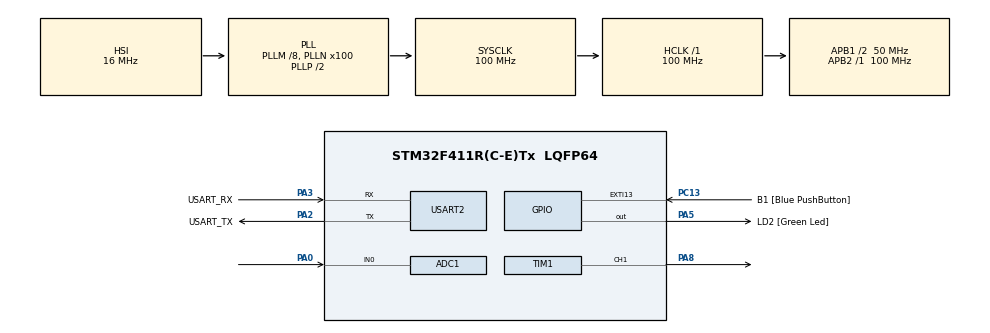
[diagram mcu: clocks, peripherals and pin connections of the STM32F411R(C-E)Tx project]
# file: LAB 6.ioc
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ADC1.Channel-0\#ChannelRegularConversion=ADC_CHANNEL_0
ADC1.ExternalTrigConv=ADC_EXTERNALTRIGCONV_T3_TRGO
ADC1.NbrOfConversionFlag=1
ADC1.Rank-0\#ChannelRegularConversion=1
ADC1.SamplingTime-0\#ChannelRegularConversion=ADC_SAMPLETIME_3CYCLES
ADC1.master=1
Dma.ADC1.0.Direction=DMA_PERIPH_TO_MEMORY
Dma.ADC1.0.FIFOMode=DMA_FIFOMODE_DISABLE
Dma.ADC1.0.Instance=DMA2_Stream0
Dma.ADC1.0.MemDataAlignment=DMA_MDATAALIGN_HALFWORD
Dma.ADC1.0.MemInc=DMA_MINC_ENABLE
Dma.ADC1.0.Mode=DMA_CIRCULAR
Dma.ADC1.0.PeriphDataAlignment=DMA_PDATAALIGN_HALFWORD
Dma.ADC1.0.PeriphInc=DMA_PINC_DISABLE
Dma.ADC1.0.Priority=DMA_PRIORITY_LOW
Dma.Request0=ADC1
Mcu.Family=STM32F4
Mcu.Name=STM32F411R(C-E)Tx
Mcu.Package=LQFP64
NVIC.ADC_IRQn=true\:0\:0\:false\:false\:true\:true\:true
NVIC.DMA2_Stream0_IRQn=true\:0\:0\:false\:false\:true\:false\:true
NVIC.PriorityGroup=NVIC_PRIORITYGROUP_0
NVIC.TIM1_TRG_COM_TIM11_IRQn=true\:0\:0\:false\:false\:true\:true\:true
NVIC.TIM3_IRQn=true\:0\:0\:false\:false\:true\:true\:true
PA0-WKUP.Signal=ADCx_IN0
PA13.GPIO_Label=TMS
PA13.Mode=Serial_Wire
PA13.Signal=SYS_JTMS-SWDIO
PA14.GPIO_Label=TCK
PA14.Mode=Serial_Wire
PA14.Signal=SYS_JTCK-SWCLK
PA2.GPIO_Label=USART_TX
PA2.Mode=Asynchronous
PA2.Signal=USART2_TX
PA3.GPIO_Label=USART_RX
PA3.Mode=Asynchronous
PA3.Signal=USART2_RX
PA5.GPIO_Label=LD2 [Green Led]
PA5.Signal=GPIO_Output
PA8.Signal=S_TIM1_CH1
PB3.GPIO_Label=SWO
PB3.Signal=SYS_JTDO-SWO
PC13-ANTI_TAMP.GPIO_Label=B1 [Blue PushButton]
PC13-ANTI_TAMP.GPIO_ModeDefaultEXTI=GPIO_MODE_IT_FALLING
PC13-ANTI_TAMP.Signal=GPXTI13
PC14-OSC32_IN.Mode=LSE-External-Oscillator
PC14-OSC32_IN.Signal=RCC_OSC32_IN
PC15-OSC32_OUT.Mode=LSE-External-Oscillator
PC15-OSC32_OUT.Signal=RCC_OSC32_OUT
PH0\ -\ OSC_IN.Mode=HSE-External-Clock-Source
PH0\ -\ OSC_IN.Signal=RCC_OSC_IN
PH1\ -\ OSC_OUT.Mode=HSE-External-Clock-Source
PH1\ -\ OSC_OUT.Signal=RCC_OSC_OUT
ProjectManager.HeapSize=0x200
ProjectManager.StackSize=0x400
ProjectManager.TargetToolchain=STM32CubeIDE
RCC.48MHZClocksFreq_Value=50000000
RCC.AHBFreq_Value=100000000
RCC.APB1CLKDivider=RCC_HCLK_DIV2
RCC.APB1Freq_Value=50000000
RCC.APB1TimFreq_Value=100000000
RCC.APB2Freq_Value=100000000
RCC.APB2TimFreq_Value=100000000
RCC.CortexFreq_Value=100000000
RCC.FLatency-AdvancedSettings=FLASH_LATENCY_3
RCC.HCLKFreq_Value=100000000
RCC.HSE_VALUE=8000000
RCC.HSI_VALUE=16000000
RCC.PLLM=8
RCC.PLLN=100
RCC.SYSCLKFreq_VALUE=100000000
RCC.SYSCLKSource=RCC_SYSCLKSOURCE_PLLCLK
RCC.VCOOutputFreq_Value=200000000
SH.ADCx_IN0.0=ADC1_IN0,IN0
SH.S_TIM1_CH1.0=TIM1_CH1,PWM Generation1 CH1
TIM1.Channel-PWM\ Generation1\ CH1=TIM_CHANNEL_1
TIM1.Period=10000
TIM3.Period=1000
TIM3.Prescaler=99
TIM3.TIM_MasterOutputTrigger=TIM_TRGO_UPDATE
USART2.VirtualMode=VM_ASYNC
VP_TIM11_VS_ClockSourceINT.Mode=Enable_Timer
VP_TIM1_VS_ClockSourceINT.Mode=Internal
VP_TIM3_VS_ClockSourceINT.Mode=Internal
board=NUCLEO-F411RE

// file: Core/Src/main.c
/* USER CODE BEGIN Header */
/**
  ******************************************************************************
  * @file           : main.c
  * @brief          : Main program body
  ******************************************************************************
  * @attention
  *
  * <h2><center>&copy; Copyright (c) 2021 STMicroelectronics.
  * All rights reserved.</center></h2>
  *
  * This software component is licensed by ST under BSD 3-Clause license,
  * the "License"; You may not use this file except in compliance with the
  * License. You may obtain a copy of the License at:
  *                        opensource.org/licenses/BSD-3-Clause
  *
  ******************************************************************************
  */
/* USER CODE END Header */
#include "main.h"

ADC_HandleTypeDef hadc1;
DMA_HandleTypeDef hdma_adc1;

TIM_HandleTypeDef htim1;
TIM_HandleTypeDef htim3;
TIM_HandleTypeDef htim11;

UART_HandleTypeDef huart2;

/* USER CODE BEGIN PV */
uint8_t ADCUpdateFlag = 0;
uint16_t ADCFeedBack = 0;

uint16_t wantedPWM = 3030;		//3.3V>>10000 --> 1V>>10000/3.3=3030
float Vout = 0.00;

uint64_t _micro = 0;
uint64_t TimeOutputLoop = 0;
/* USER CODE END PV */

void SystemClock_Config(void);
static void MX_GPIO_Init(void);
static void MX_DMA_Init(void);
static void MX_USART2_UART_Init(void);
static void MX_ADC1_Init(void);
static void MX_TIM1_Init(void);
static void MX_TIM3_Init(void);
static void MX_TIM11_Init(void);
/* USER CODE BEGIN PFP */
uint64_t micros();
/* USER CODE END PFP */

int main(void)
{

  /* MCU Configuration--------------------------------------------------------*/

  /* Reset of all peripherals, Initializes the Flash interface and the Systick. */
  HAL_Init();

  /* Configure the system clock */
  SystemClock_Config();

  /* Initialize all configured peripherals */
  MX_GPIO_Init();
  MX_DMA_Init();
  MX_USART2_UART_Init();
  MX_ADC1_Init();
  MX_TIM1_Init();
  MX_TIM3_Init();
  MX_TIM11_Init();
  /* USER CODE BEGIN 2 */
  HAL_ADC_Start_IT(&hadc1);
  	HAL_TIM_Base_Start(&htim3);

  	HAL_TIM_Base_Start(&htim1);
  	HAL_TIM_PWM_Start(&htim1, TIM_CHANNEL_1);

  	HAL_TIM_Base_Start_IT(&htim11);
  /* USER CODE END 2 */

  /* Infinite loop */
  while (1)
  {

    /* USER CODE BEGIN 3 */
	  if (micros() - TimeOutputLoop > 1000)
	  {
		TimeOutputLoop = micros();
		// #001
		//Vout = Vin * PWM >> PWM 1 unit > Vin/PWM
		//Vin คำนวณจาก  ADCFeedBack
		//PWM >> 0 - 10000		//PWMmax = 10000
		//Wanted Range >> 0 - 3.3
		//Resolution >> ADCFeedBak*3.3/2^12 >> Wanted Vin
		__HAL_TIM_SET_COMPARE(&htim1, TIM_CHANNEL_1, wantedPWM);
		//ADC 12 bit >> 4096
		if (Vout < 1)
		{
			//wanted Vout = 1 >> wantedPWM = 1*12bit*PWMmax/(Vin*ADCFeedback)
			wantedPWM = 40960000.00/(ADCFeedBack*3.3);
		}
		else if (Vout > 1)
		{
			wantedPWM = 40960000.00/(ADCFeedBack*3.3);
		}
		//Vout = Vin * (ADCFeedback/12bit) * (PWM/PWMmax)
		Vout = 3.3*ADCFeedBack/40960000*wantedPWM;

		}

		if (ADCUpdateFlag) {
			ADCUpdateFlag = 0;
			//#002
		}

  }
  /* USER CODE END 3 */
}

void SystemClock_Config(void)
{
  RCC_OscInitTypeDef RCC_OscInitStruct = {0};
  RCC_ClkInitTypeDef RCC_ClkInitStruct = {0};

  /** Configure the main internal regulator output voltage
  */
  __HAL_RCC_PWR_CLK_ENABLE();
  __HAL_PWR_VOLTAGESCALING_CONFIG(PWR_REGULATOR_VOLTAGE_SCALE1);
  /** Initializes the RCC Oscillators according to the specified parameters
  * in the RCC_OscInitTypeDef structure.
  */
  RCC_OscInitStruct.OscillatorType = RCC_OSCILLATORTYPE_HSI;
  RCC_OscInitStruct.HSIState = RCC_HSI_ON;
  RCC_OscInitStruct.HSICalibrationValue = RCC_HSICALIBRATION_DEFAULT;
  RCC_OscInitStruct.PLL.PLLState = RCC_PLL_ON;
  RCC_OscInitStruct.PLL.PLLSource = RCC_PLLSOURCE_HSI;
  RCC_OscInitStruct.PLL.PLLM = 8;
  RCC_OscInitStruct.PLL.PLLN = 100;
  RCC_OscInitStruct.PLL.PLLP = RCC_PLLP_DIV2;
  RCC_OscInitStruct.PLL.PLLQ = 4;
  if (HAL_RCC_OscConfig(&RCC_OscInitStruct) != HAL_OK)
  {
    Error_Handler();
  }
  /** Initializes the CPU, AHB and APB buses clocks
  */
  RCC_ClkInitStruct.ClockType = RCC_CLOCKTYPE_HCLK|RCC_CLOCKTYPE_SYSCLK
                              |RCC_CLOCKTYPE_PCLK1|RCC_CLOCKTYPE_PCLK2;
  RCC_ClkInitStruct.SYSCLKSource = RCC_SYSCLKSOURCE_PLLCLK;
  RCC_ClkInitStruct.AHBCLKDivider = RCC_SYSCLK_DIV1;
  RCC_ClkInitStruct.APB1CLKDivider = RCC_HCLK_DIV2;
  RCC_ClkInitStruct.APB2CLKDivider = RCC_HCLK_DIV1;

  if (HAL_RCC_ClockConfig(&RCC_ClkInitStruct, FLASH_LATENCY_3) != HAL_OK)
  {
    Error_Handler();
  }
}

static void MX_ADC1_Init(void)
{

  ADC_ChannelConfTypeDef sConfig = {0};

  /** Configure the global features of the ADC (Clock, Resolution, Data Alignment and number of conversion)
  */
  hadc1.Instance = ADC1;
  hadc1.Init.ClockPrescaler = ADC_CLOCK_SYNC_PCLK_DIV4;
  hadc1.Init.Resolution = ADC_RESOLUTION_12B;
  hadc1.Init.ScanConvMode = DISABLE;
  hadc1.Init.ContinuousConvMode = DISABLE;
  hadc1.Init.DiscontinuousConvMode = DISABLE;
  hadc1.Init.ExternalTrigConvEdge = ADC_EXTERNALTRIGCONVEDGE_RISING;
  hadc1.Init.ExternalTrigConv = ADC_EXTERNALTRIGCONV_T3_TRGO;
  hadc1.Init.DataAlign = ADC_DATAALIGN_RIGHT;
  hadc1.Init.NbrOfConversion = 1;
  hadc1.Init.DMAContinuousRequests = DISABLE;
  hadc1.Init.EOCSelection = ADC_EOC_SINGLE_CONV;
  if (HAL_ADC_Init(&hadc1) != HAL_OK)
  {
    Error_Handler();
  }
  /** Configure for the selected ADC regular channel its corresponding rank in the sequencer and its sample time.
  */
  sConfig.Channel = ADC_CHANNEL_0;
  sConfig.Rank = 1;
  sConfig.SamplingTime = ADC_SAMPLETIME_3CYCLES;
  if (HAL_ADC_ConfigChannel(&hadc1, &sConfig) != HAL_OK)
  {
    Error_Handler();
  }

}

static void MX_TIM1_Init(void)
{

  TIM_ClockConfigTypeDef sClockSourceConfig = {0};
  TIM_MasterConfigTypeDef sMasterConfig = {0};
  TIM_OC_InitTypeDef sConfigOC = {0};
  TIM_BreakDeadTimeConfigTypeDef sBreakDeadTimeConfig = {0};

  htim1.Instance = TIM1;
  htim1.Init.Prescaler = 0;
  htim1.Init.CounterMode = TIM_COUNTERMODE_UP;
  htim1.Init.Period = 10000;
  htim1.Init.ClockDivision = TIM_CLOCKDIVISION_DIV1;
  htim1.Init.RepetitionCounter = 0;
  htim1.Init.AutoReloadPreload = TIM_AUTORELOAD_PRELOAD_DISABLE;
  if (HAL_TIM_Base_Init(&htim1) != HAL_OK)
  {
    Error_Handler();
  }
  sClockSourceConfig.ClockSource = TIM_CLOCKSOURCE_INTERNAL;
  if (HAL_TIM_ConfigClockSource(&htim1, &sClockSourceConfig) != HAL_OK)
  {
    Error_Handler();
  }
  if (HAL_TIM_PWM_Init(&htim1) != HAL_OK)
  {
    Error_Handler();
  }
  sMasterConfig.MasterOutputTrigger = TIM_TRGO_RESET;
  sMasterConfig.MasterSlaveMode = TIM_MASTERSLAVEMODE_DISABLE;
  if (HAL_TIMEx_MasterConfigSynchronization(&htim1, &sMasterConfig) != HAL_OK)
  {
    Error_Handler();
  }
  sConfigOC.OCMode = TIM_OCMODE_PWM1;
  sConfigOC.Pulse = 0;
  sConfigOC.OCPolarity = TIM_OCPOLARITY_HIGH;
  sConfigOC.OCNPolarity = TIM_OCNPOLARITY_HIGH;
  sConfigOC.OCFastMode = TIM_OCFAST_DISABLE;
  sConfigOC.OCIdleState = TIM_OCIDLESTATE_RESET;
  sConfigOC.OCNIdleState = TIM_OCNIDLESTATE_RESET;
  if (HAL_TIM_PWM_ConfigChannel(&htim1, &sConfigOC, TIM_CHANNEL_1) != HAL_OK)
  {
    Error_Handler();
  }
  sBreakDeadTimeConfig.OffStateRunMode = TIM_OSSR_DISABLE;
  sBreakDeadTimeConfig.OffStateIDLEMode = TIM_OSSI_DISABLE;
  sBreakDeadTimeConfig.LockLevel = TIM_LOCKLEVEL_OFF;
  sBreakDeadTimeConfig.DeadTime = 0;
  sBreakDeadTimeConfig.BreakState = TIM_BREAK_DISABLE;
  sBreakDeadTimeConfig.BreakPolarity = TIM_BREAKPOLARITY_HIGH;
  sBreakDeadTimeConfig.AutomaticOutput = TIM_AUTOMATICOUTPUT_DISABLE;
  if (HAL_TIMEx_ConfigBreakDeadTime(&htim1, &sBreakDeadTimeConfig) != HAL_OK)
  {
    Error_Handler();
  }
  HAL_TIM_MspPostInit(&htim1);

}

static void MX_TIM3_Init(void)
{

  TIM_ClockConfigTypeDef sClockSourceConfig = {0};
  TIM_MasterConfigTypeDef sMasterConfig = {0};

  htim3.Instance = TIM3;
  htim3.Init.Prescaler = 99;
  htim3.Init.CounterMode = TIM_COUNTERMODE_UP;
  htim3.Init.Period = 1000;
  htim3.Init.ClockDivision = TIM_CLOCKDIVISION_DIV1;
  htim3.Init.AutoReloadPreload = TIM_AUTORELOAD_PRELOAD_DISABLE;
  if (HAL_TIM_Base_Init(&htim3) != HAL_OK)
  {
    Error_Handler();
  }
  sClockSourceConfig.ClockSource = TIM_CLOCKSOURCE_INTERNAL;
  if (HAL_TIM_ConfigClockSource(&htim3, &sClockSourceConfig) != HAL_OK)
  {
    Error_Handler();
  }
  sMasterConfig.MasterOutputTrigger = TIM_TRGO_UPDATE;
  sMasterConfig.MasterSlaveMode = TIM_MASTERSLAVEMODE_DISABLE;
  if (HAL_TIMEx_MasterConfigSynchronization(&htim3, &sMasterConfig) != HAL_OK)
  {
    Error_Handler();
  }

}

static void MX_TIM11_Init(void)
{

  htim11.Instance = TIM11;
  htim11.Init.Prescaler = 0;
  htim11.Init.CounterMode = TIM_COUNTERMODE_UP;
  htim11.Init.Period = 65535;
  htim11.Init.ClockDivision = TIM_CLOCKDIVISION_DIV1;
  htim11.Init.AutoReloadPreload = TIM_AUTORELOAD_PRELOAD_DISABLE;
  if (HAL_TIM_Base_Init(&htim11) != HAL_OK)
  {
    Error_Handler();
  }

}

static void MX_USART2_UART_Init(void)
{

  huart2.Instance = USART2;
  huart2.Init.BaudRate = 115200;
  huart2.Init.WordLength = UART_WORDLENGTH_8B;
  huart2.Init.StopBits = UART_STOPBITS_1;
  huart2.Init.Parity = UART_PARITY_NONE;
  huart2.Init.Mode = UART_MODE_TX_RX;
  huart2.Init.HwFlowCtl = UART_HWCONTROL_NONE;
  huart2.Init.OverSampling = UART_OVERSAMPLING_16;
  if (HAL_UART_Init(&huart2) != HAL_OK)
  {
    Error_Handler();
  }

}

static void MX_DMA_Init(void)
{

  /* DMA controller clock enable */
  __HAL_RCC_DMA2_CLK_ENABLE();

  /* DMA interrupt init */
  /* DMA2_Stream0_IRQn interrupt configuration */
  HAL_NVIC_SetPriority(DMA2_Stream0_IRQn, 0, 0);
  HAL_NVIC_EnableIRQ(DMA2_Stream0_IRQn);

}

static void MX_GPIO_Init(void)
{
  GPIO_InitTypeDef GPIO_InitStruct = {0};

  /* GPIO Ports Clock Enable */
  __HAL_RCC_GPIOC_CLK_ENABLE();
  __HAL_RCC_GPIOH_CLK_ENABLE();
  __HAL_RCC_GPIOA_CLK_ENABLE();
  __HAL_RCC_GPIOB_CLK_ENABLE();

  /*Configure GPIO pin Output Level */
  HAL_GPIO_WritePin(LD2_GPIO_Port, LD2_Pin, GPIO_PIN_RESET);

  /*Configure GPIO pin : B1_Pin */
  GPIO_InitStruct.Pin = B1_Pin;
  GPIO_InitStruct.Mode = GPIO_MODE_IT_FALLING;
  GPIO_InitStruct.Pull = GPIO_NOPULL;
  HAL_GPIO_Init(B1_GPIO_Port, &GPIO_InitStruct);

  /*Configure GPIO pin : LD2_Pin */
  GPIO_InitStruct.Pin = LD2_Pin;
  GPIO_InitStruct.Mode = GPIO_MODE_OUTPUT_PP;
  GPIO_InitStruct.Pull = GPIO_NOPULL;
  GPIO_InitStruct.Speed = GPIO_SPEED_FREQ_LOW;
  HAL_GPIO_Init(LD2_GPIO_Port, &GPIO_InitStruct);

}

/* USER CODE BEGIN 4 */
void HAL_ADC_ConvCpltCallback(ADC_HandleTypeDef *hadc) {
	ADCFeedBack = HAL_ADC_GetValue(&hadc1);
	ADCUpdateFlag = 1;
}
void HAL_TIM_PeriodElapsedCallback(TIM_HandleTypeDef *htim) {
	if (htim == &htim11) {
		_micro += 65535;
	}
}

__inline__ uint64_t micros() {
	return _micro + htim11.Instance->CNT;
}
/* USER CODE END 4 */

void Error_Handler(void)
{
  __disable_irq();
  while (1)
  {
  }
}

/************************ (C) COPYRIGHT STMicroelectronics *****END OF FILE****/
